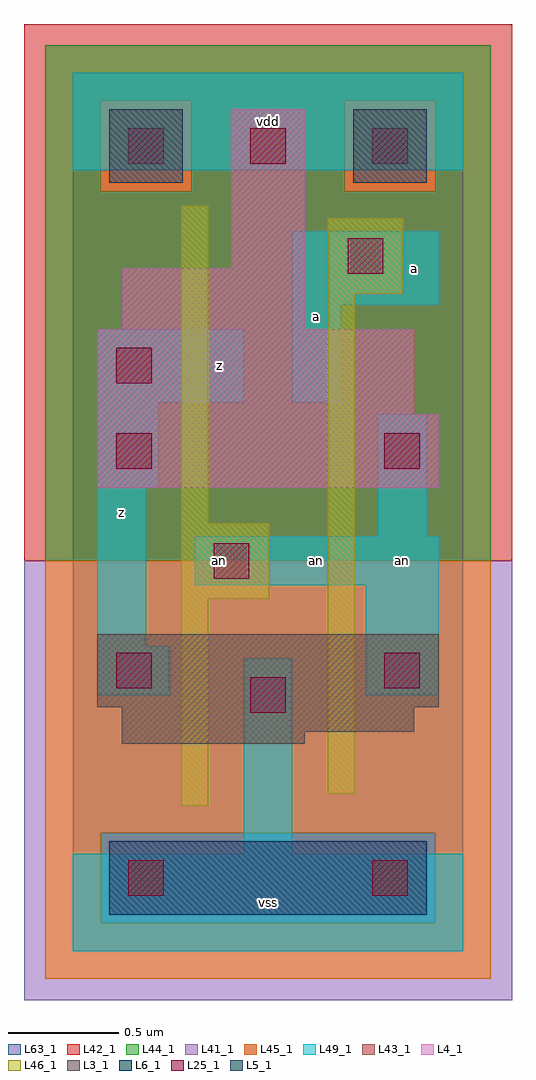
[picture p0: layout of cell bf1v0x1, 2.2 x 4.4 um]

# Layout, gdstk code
import gdstk
lib = gdstk.Library(unit=1e-6, precision=1e-09)
def R(c, l, rs):  # rectangles x0, y0, x1, y1
    for r in rs: c.add(gdstk.rectangle(r[:2], r[2:], *l))
def A(c, l, x, y, w, h, nx, ny, dx, dy):  # array of equal rectangles
    R(c, l, [(x+i*dx, y+j*dy, x+i*dx+w, y+j*dy+h) for i in range(nx) for j in range(ny)])
L3_1 = (3, 1)
L4_1 = (4, 1)
L5_1 = (5, 1)
L6_1 = (6, 1)
L25_1 = (25, 1)
L41_1 = (41, 1)
L42_1 = (42, 1)
L43_1 = (43, 1)
L44_1 = (44, 1)
L45_1 = (45, 1)
L46_1 = (46, 1)
L49_1 = (49, 1)
L63_1 = (63, 1)

bf1v0x1 = lib.new_cell('bf1v0x1')
R(bf1v0x1, L3_1, [(0.22,0.935,1.045,0.99), (0.22,0.99,1.54,1.1), (0.11,1.1,1.65,1.43)])
R(bf1v0x1, L4_1, [(0.11,2.09,1.65,2.42), (0.11,2.42,1.54,2.805), (0.22,2.805,1.045,3.08), (0.715,3.08,1.045,3.795)])
R(bf1v0x1, L5_1, [(0.165,3.465,0.495,3.795), (1.265,3.465,1.595,3.795)])
R(bf1v0x1, L6_1, [(0.165,0.165,1.595,0.495)])
A(bf1v0x1, L25_1, 0.25, 3.55, 0.16, 0.16, 3, 1, 0.55, 0)
R(bf1v0x1, L25_1, [(0.25,0.25,0.41,0.41), (1.35,0.25,1.51,0.41), (0.8,1.075,0.96,1.235), (0.195,1.185,0.355,1.345), (1.405,1.185,1.565,1.345), (0.635,1.68,0.795,1.84), (0.195,2.175,0.355,2.335), (1.405,2.175,1.565,2.335), (0.195,2.56,0.355,2.72), (1.24,3.055,1.4,3.215)])
R(bf1v0x1, L41_1, [(-0.22,-0.22,1.98,1.76)])
R(bf1v0x1, L42_1, [(-0.22,1.76,1.98,4.18)])
R(bf1v0x1, L43_1, [(0.165,0.165,1.595,0.495), (0.22,0.935,1.045,0.99), (0.22,0.99,1.54,1.1), (0.11,1.1,1.65,1.43), (0.11,2.09,1.65,2.42), (0.11,2.42,1.54,2.805), (0.22,2.805,1.045,3.08), (0.715,3.08,1.045,3.795), (0.165,3.465,0.495,3.795), (1.265,3.465,1.595,3.795)])
R(bf1v0x1, L44_1, [(0.125,0.125,1.635,0.535), (-0.125,1.76,1.885,3.425), (-0.125,3.425,0.125,3.835), (0.535,3.425,1.225,3.835), (1.635,3.425,1.885,3.835), (-0.125,3.835,1.885,4.085)])
R(bf1v0x1, L45_1, [(-0.125,-0.125,1.885,0.125), (-0.125,0.125,0.125,0.535), (1.635,0.125,1.885,0.535), (-0.125,0.535,1.885,1.76), (0.125,3.425,0.535,3.835), (1.225,3.425,1.635,3.835)])
R(bf1v0x1, L46_1, [(0.49,0.655,0.61,1.59), (1.15,0.71,1.27,2.965), (0.49,1.59,0.885,1.93), (0.49,1.93,0.61,3.36), (1.15,2.965,1.49,3.305)])
R(bf1v0x1, L49_1, [(0,0,1.76,0.44), (0.77,0.44,0.99,1.32), (0.11,1.155,0.44,1.375), (1.32,1.155,1.65,1.65), (0.11,1.375,0.33,2.09), (0.55,1.65,1.65,1.87), (1.375,1.87,1.595,2.42), (0.11,2.09,0.385,2.475), (0.11,2.475,0.77,2.805), (0.99,2.475,1.21,2.915), (0.99,2.915,1.65,3.245), (0,3.52,1.76,3.96)])
R(bf1v0x1, L63_1, [(0,0,1.76,3.96)])
bf1v0x1.add(gdstk.Label('an', (0.66,1.76), layer=49, texttype=1))
bf1v0x1.add(gdstk.Label('z', (0.22,1.98), layer=49, texttype=1))
bf1v0x1.add(gdstk.Label('z', (0.66,2.64), layer=49, texttype=1))
bf1v0x1.add(gdstk.Label('vss', (0.88,0.22), layer=49, texttype=1))
bf1v0x1.add(gdstk.Label('a', (1.1,2.86), layer=49, texttype=1))
bf1v0x1.add(gdstk.Label('vdd', (0.88,3.74), layer=49, texttype=1))
bf1v0x1.add(gdstk.Label('an', (1.1,1.76), layer=49, texttype=1))
bf1v0x1.add(gdstk.Label('an', (1.485,1.76), layer=49, texttype=1))
bf1v0x1.add(gdstk.Label('a', (1.54,3.08), layer=49, texttype=1))

lib.write_gds('bf1v0x1.gds')
